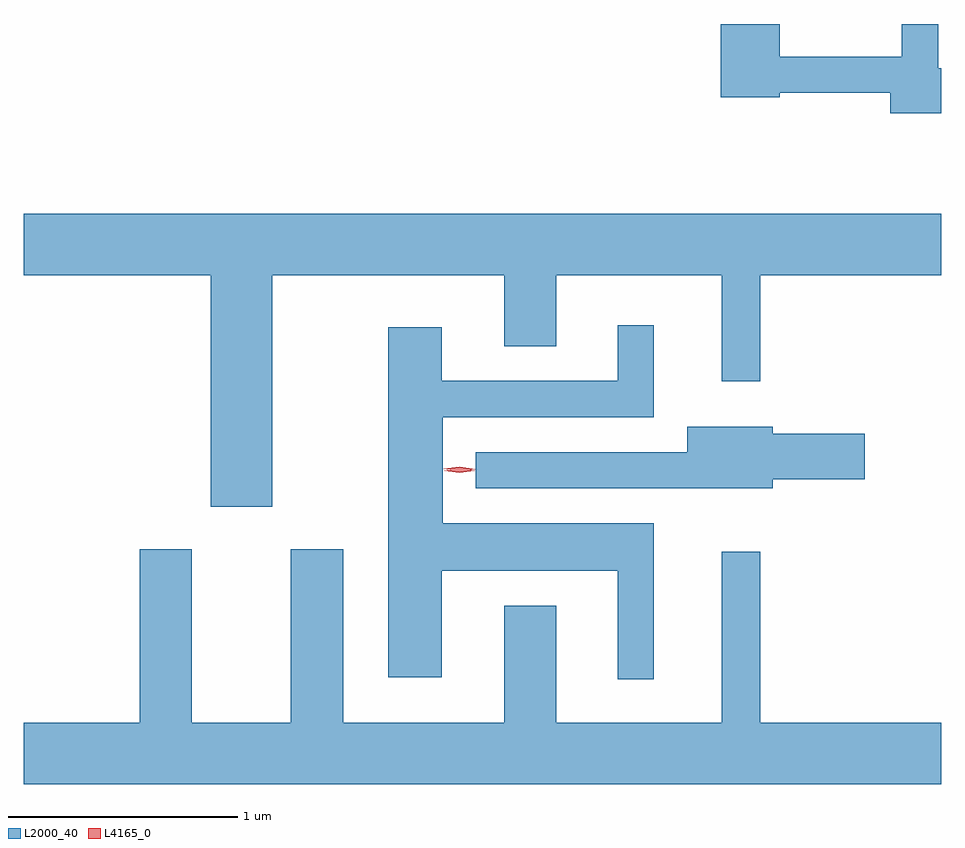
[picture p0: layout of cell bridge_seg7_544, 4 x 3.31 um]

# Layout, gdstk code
import gdstk
lib = gdstk.Library(unit=1e-6, precision=1e-09)
def P(c, l, *ps):  # polygons
    for p in ps: c.add(gdstk.Polygon(p, *l))
L2000_40 = (2000, 40)
L4165_0 = (4165, 0)

bridge_seg7_544 = lib.new_cell('bridge_seg7_544')
P(bridge_seg7_544, L2000_40, [(1004.327,1761.839),(1004.314,1761.839),(1004.314,1762.031),(1004.156,1762.031),(1004.156,1761.889),(1003.624,1761.889),(1003.624,1762.031),(1003.366,1762.031),(1003.366,1761.711),(1003.624,1761.711),(1003.624,1761.731),(1004.106,1761.731),(1004.106,1761.641),(1004.327,1761.641)],
  [(1001.409,1760.936),(1002.421,1760.936),(1002.421,1760.626),(1002.649,1760.626),(1002.649,1760.936),(1003.371,1760.936),(1003.371,1760.473),(1003.539,1760.473),(1003.539,1760.936),(1004.327,1760.936),(1004.327,1761.204),(1000.327,1761.204),(1000.327,1760.936),(1001.141,1760.936),(1001.141,1759.926),(1001.409,1759.926)],
  [(1003.074,1759.854),(1002.154,1759.854),(1002.154,1760.316),(1003.074,1760.316),(1003.074,1760.718),(1002.916,1760.718),(1002.916,1760.474),(1002.149,1760.474),(1002.149,1760.709),(1001.916,1760.709),(1001.916,1759.181),(1002.149,1759.181),(1002.149,1759.646),(1002.916,1759.646),(1002.916,1759.173),(1003.074,1759.173)],
  [(1003.594,1760.046),(1003.994,1760.046),(1003.994,1760.244),(1003.594,1760.244),(1003.594,1760.274),(1003.221,1760.274),(1003.221,1760.164),(1002.298,1760.164),(1002.298,1760.006),(1003.594,1760.006)],
  [(1003.371,1759.728),(1003.371,1758.984),(1002.649,1758.984),(1002.649,1759.494),(1002.421,1759.494),(1002.421,1758.984),(1001.719,1758.984),(1001.719,1759.739),(1001.491,1759.739),(1001.491,1758.984),(1001.059,1758.984),(1001.059,1759.739),(1000.831,1759.739),(1000.831,1758.984),(1000.327,1758.984),(1000.327,1758.716),(1004.327,1758.716),(1004.327,1758.984),(1003.539,1758.984),(1003.539,1759.728)])
P(bridge_seg7_544, L4165_0, [(1002.227,1760.08),(1002.158,1760.09),(1002.157,1760.09),(1002.158,1760.091),(1002.227,1760.099),(1002.296,1760.089),(1002.296,1760.089),(1002.296,1760.088)],
  [(1002.227,1760.073),(1002.161,1760.082),(1002.16,1760.083),(1002.161,1760.083),(1002.227,1760.093),(1002.292,1760.083),(1002.293,1760.083),(1002.292,1760.082)])

lib.write_gds('bridge_seg7_544.gds')
